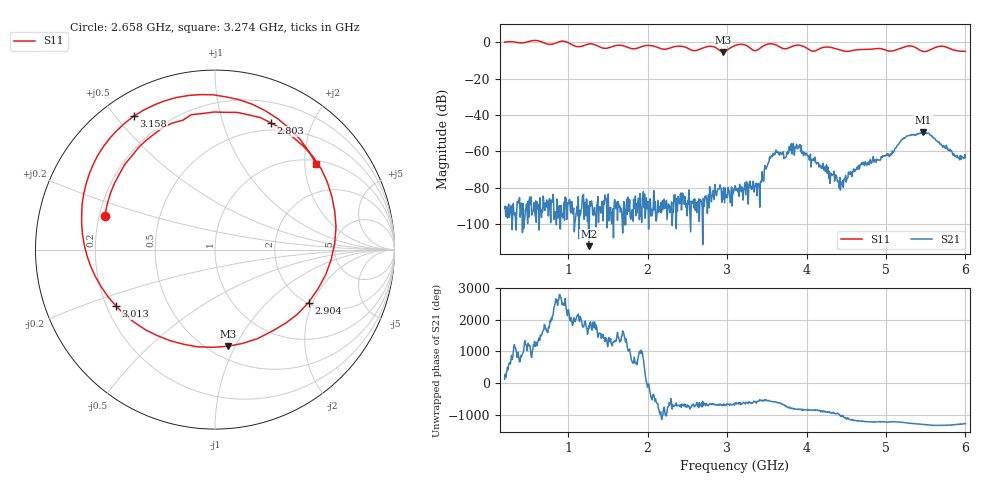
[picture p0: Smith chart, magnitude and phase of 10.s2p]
! NanoVNA-App
! Date: 2024-06-25 16:04:16
! Start: 200MHz Stop: 6GHz Points: 801
! S-Parameter data: F S11 S21 S12 S22
# Hz S RI R 50
!  Frequency  S11_Real  S11_Imag  S21_Real  S21_Imag  S12_Real  S12_Imag  S22_Real  S22_Imag
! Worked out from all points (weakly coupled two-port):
!   801 points, 200 MHz to 6 GHz, reference 50 ohm
!   highest |S21| = -49.54 dB at 5.471 GHz (marker M1); lowest = -112.2 dB at 1.258 GHz (marker M2)
!   lowest |S11| = -5.3 dB at 2.948 GHz (marker M3), VSWR 3.38, Z = 30.5 - j46.7 ohm
!   |S11| at or under -10 dB: nowhere
!   S12 and S22 are empty: the file has one direction only
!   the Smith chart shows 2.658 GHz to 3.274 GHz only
!   S11 on the Smith chart (normalised r, x): 2.658 GHz: 0.22, +0.14; 2.803 GHz: 0.42, +1.45; 2.904 GHz: 2.03, -1.86; 3.013 GHz: 0.24, -0.25; 3.158 GHz: 0.09, +0.56; 3.274 GHz: 1.09, +2.29
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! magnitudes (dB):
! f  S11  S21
! 200 MHz  0.0  -91.4
! 1.171 GHz  -2.2  -91.1
! 1.258 GHz  -1.0  -112.2
! 2.136 GHz  -3.0  -93.6
! 2.658 GHz  -3.8  -86.6
! 2.803 GHz  -2.3  -87.8
! 2.904 GHz  -4.5  -80.8
! 2.948 GHz  -5.3  -86.5
! 3.013 GHz  -3.9  -79.9
! 3.1 GHz  -1.9  -78.9
! 3.158 GHz  -1.2  -78.2
! 3.274 GHz  -2.6  -78.8
! 3.405 GHz  -3.6  -78.3
! 3.607 GHz  -1.4  -60.7
! 3.89 GHz  -1.6  -58.6
! 4.072 GHz  -4.9  -64.5
! 4.434 GHz  -4.4  -77.6
! 4.688 GHz  -4.0  -67.4
! 5.036 GHz  -4.8  -61.7
! 5.239 GHz  -2.5  -52.7
! 5.471 GHz  -5.1  -49.5
! 6 GHz  -5.0  -63.4
